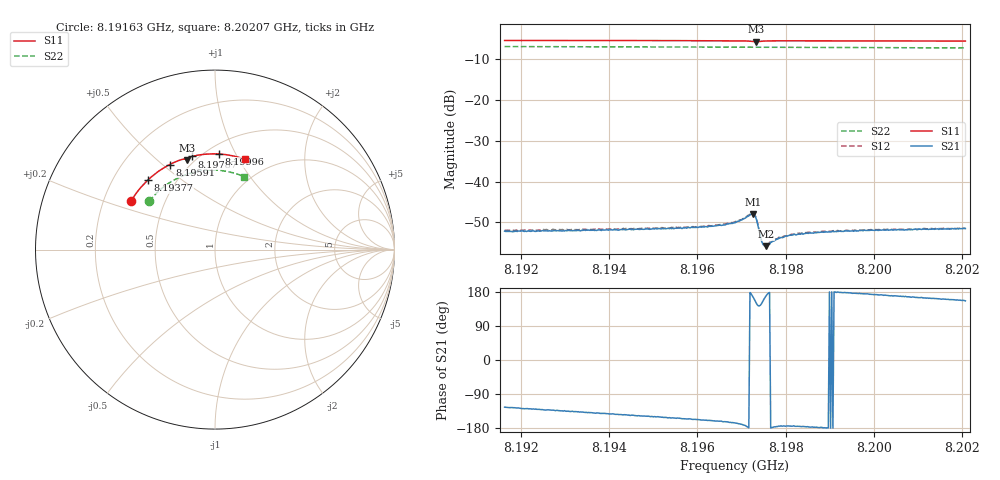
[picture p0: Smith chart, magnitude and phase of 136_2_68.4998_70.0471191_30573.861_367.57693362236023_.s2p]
#  HZ  S  RI  R  50.00
! Rohde & Schwarz Vector Network Analyzer
! Rohde-Schwarz,ZNB20-2Port,1311601062101988,3.16
! Created: UTC 3/20/2024, 5:09:49 PM
! freq[Hz]  re:S11  im:S11  re:S21  im:S21  re:S12  im:S12  re:S22  im:S22
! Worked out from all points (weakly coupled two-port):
!   401 points, 8.19163 GHz to 8.20207 GHz, reference 50 ohm
!   highest |S21| = -47.89 dB at 8.19727 GHz (marker M1); lowest = -55.8 dB at 8.19756 GHz (marker M2)
!   lowest |S11| = -5.7 dB at 8.19732 GHz (marker M3), VSWR 3.18, Z = 23 + j31.3 ohm
!   |S11| at or under -10 dB: nowhere
!   |S22| runs from -7.2 to -6.9 dB; largest |S21 - S12| = 0.0002
!   S11 on the Smith chart (normalised r, x): 8.19163 GHz: 0.32, +0.24; 8.19377 GHz: 0.35, +0.38; 8.19591 GHz: 0.40, +0.53; 8.19787 GHz: 0.46, +0.67; 8.19996 GHz: 0.58, +0.86; 8.20207 GHz: 0.76, +1.06
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8.191635e9  -0.4685 0.2686  -0.0014 -0.00204  -0.00149 -0.00205  -0.3661 0.269
8.193383e9  -0.395 0.3668  -0.00186 -0.00172  -0.00198 -0.00171  -0.2987 0.3392
8.193774e9  -0.3754 0.3862  -0.00197 -0.00164  -0.0021 -0.0016  -0.2818 0.353
8.195131e9  -0.3006 0.4458  -0.00232 -0.00133  -0.00241 -0.00121  -0.2175 0.3934
8.195914e9  -0.2528 0.4739  -0.00252 -0.0011  -0.00263 -0.000989  -0.1776 0.4118
8.196592e9  -0.2084 0.494  -0.00281 -0.000862  -0.00293 -0.000758  -0.1415 0.4243
8.196853e9  -0.1897 0.5004  -0.00305 -0.000745  -0.00317 -0.000632  -0.1273 0.4283
8.197036e9  -0.1757 0.504  -0.00343 -0.000531  -0.00351 -0.0004  -0.1174 0.4308
8.197192e9  -0.1621 0.5037  -0.0039 0.00014  -0.00397 0.000298  -0.1086 0.4327
8.19727e9  -0.157 0.4998  -0.00389 0.00107  -0.0039 0.00122  -0.1043 0.4335
8.197323e9  -0.1571 0.497  -0.00323 0.00169  -0.00324 0.00186  -0.1016 0.4339
8.197349e9  -0.1582 0.4969  -0.00276 0.00179  -0.00274 0.00196  -0.1003 0.4344
8.197427e9  -0.1595 0.5017  -0.00174 0.00124  -0.00173 0.00134  -0.0961 0.4351
8.197479e9  -0.1574 0.5056  -0.00157 0.000751  -0.00156 0.00085  -0.0931 0.4357
8.197505e9  -0.1554 0.5074  -0.00155 0.00057  -0.00156 0.000639  -0.0916 0.4361
8.197557e9  -0.1517 0.5101  -0.00159 0.000293  -0.00165 0.000367  -0.0887 0.4369
8.197871e9  -0.1281 0.5191  -0.00203 -0.000192  -0.00207 -0.000116  -0.0712 0.4395
8.198158e9  -0.1075 0.5239  -0.00221 -0.000212  -0.00226 -0.000133  -0.055 0.4413
8.198601e9  -0.0758 0.5293  -0.00235 -0.000143  -0.0024 -5.66e-05  -0.0299 0.443
8.199958e9  0.0205 0.5327  -0.00252 0.000311  -0.00253 0.000385  0.0471 0.4388
8.200349e9  0.0481 0.5305  -0.00252 0.000454  -0.00251 0.000543  0.0691 0.4353
8.202071e9  0.1666 0.5037  -0.00243 0.00108  -0.0024 0.00115  0.163 0.4059
